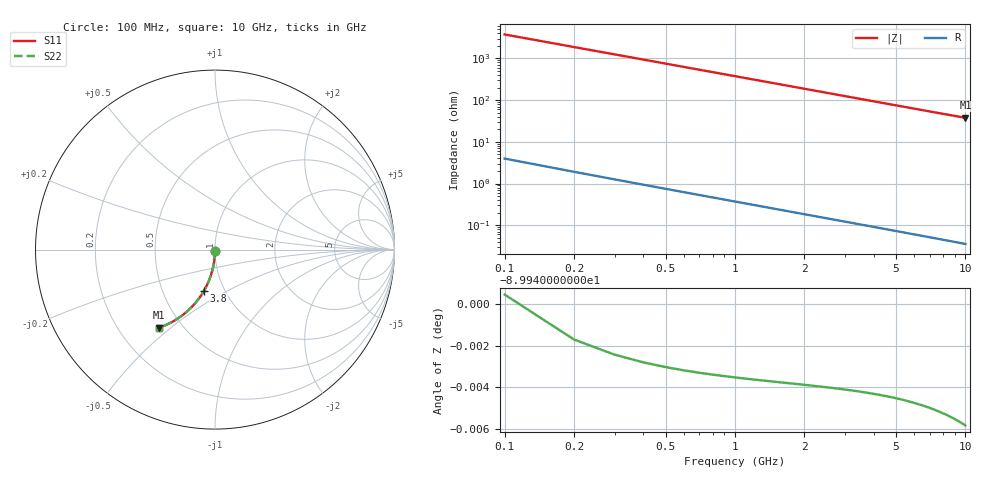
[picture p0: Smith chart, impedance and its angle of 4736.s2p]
# Hz S RI R 50.00
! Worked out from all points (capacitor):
!   100 points, 100 MHz to 10 GHz, reference 50 ohm
!   read as one part in shunt: C = 424 fF near 100 MHz
!   lowest |Z| = 37.6 ohm at 10 GHz (marker M1)
!   S11 on the Smith chart (normalised r, x): 100 MHz: 1.00, -0.01; 3.8 GHz: 0.80, -0.39; 10 GHz: 0.37, -0.45
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1e8  1.75e-06 -0.00638  0.9999 -0.00693  0.9999 -0.00693  1.75e-06 -0.00638
2e8  -0.000137 -0.0128  0.9998 -0.0139  0.9998 -0.0139  -0.000137 -0.0128
3e8  -0.000364 -0.0191  0.9995 -0.0208  0.9995 -0.0208  -0.000364 -0.0191
4e8  -0.00068 -0.0255  0.9992 -0.0277  0.9992 -0.0277  -0.00068 -0.0255
5e8  -0.00108 -0.0319  0.9988 -0.0346  0.9988 -0.0346  -0.00108 -0.0319
6e8  -0.00158 -0.0382  0.9983 -0.0415  0.9983 -0.0415  -0.00158 -0.0382
7e8  -0.00216 -0.0446  0.9977 -0.0484  0.9977 -0.0484  -0.00216 -0.0446
8e8  -0.00282 -0.0509  0.9971 -0.0553  0.9971 -0.0553  -0.00282 -0.0509
9e8  -0.00358 -0.0572  0.9963 -0.0622  0.9963 -0.0622  -0.00358 -0.0572
1.1e9  -0.00535 -0.0698  0.9945 -0.0759  0.9945 -0.0759  -0.00535 -0.0698
1.4e9  -0.00865 -0.0886  0.9912 -0.0963  0.9912 -0.0963  -0.00865 -0.0886
1.8e9  -0.0142 -0.1133  0.9856 -0.1233  0.9856 -0.1233  -0.0142 -0.1133
2.1e9  -0.0193 -0.1315  0.9805 -0.1432  0.9805 -0.1432  -0.0193 -0.1315
2.5e9  -0.0271 -0.1554  0.9727 -0.1692  0.9727 -0.1692  -0.0271 -0.1554
2.9e9  -0.0362 -0.1786  0.9635 -0.1947  0.9635 -0.1947  -0.0362 -0.1786
3.4e9  -0.0492 -0.2066  0.9505 -0.2255  0.9505 -0.2255  -0.0492 -0.2066
3.8e9  -0.0607 -0.2281  0.9389 -0.2492  0.9389 -0.2492  -0.0607 -0.2281
4.4e9  -0.0799 -0.2587  0.9197 -0.2832  0.9197 -0.2832  -0.0799 -0.2587
5.1e9  -0.1047 -0.2918  0.8948 -0.3202  0.8948 -0.3202  -0.1047 -0.2918
6.7e9  -0.1687 -0.3555  0.8305 -0.3931  0.8305 -0.3931  -0.1687 -0.3555
8.4e9  -0.2428 -0.4049  0.7559 -0.4524  0.7559 -0.4524  -0.2428 -0.4049
1e10  -0.3136 -0.4353  0.6847 -0.4923  0.6847 -0.4923  -0.3136 -0.4353
